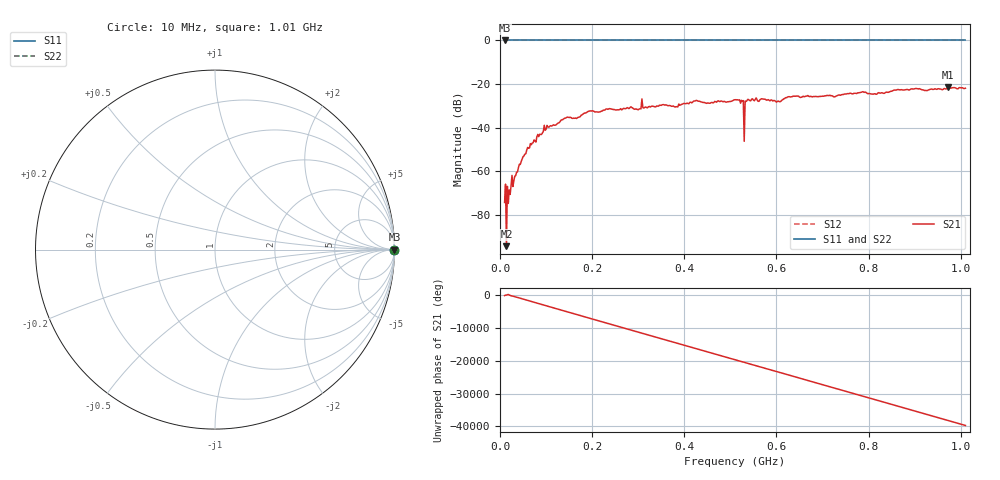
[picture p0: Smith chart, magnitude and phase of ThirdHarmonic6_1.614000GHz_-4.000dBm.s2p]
! 8/16/2025 7:15:42 PM
! C:\ANRITSUVNA\TEMP\TEMP.S2P
! CHANNEL.1
! TR.MEASUREMENT
! RAW.DATA
! RF.CORRECTION.OFF
! AVERAGING.OFF
! IF.BANDWIDTH: 5KHZ
! SWEEPTYPE:  FREQ.SWEEP(Linear)
! Reference Plane Port Info
! PORT:  PORT1  PORT2
! DISTANCE:  0  m  0  m
! TIME:  0  s  0  s
! PHASE.OFFSET:  0  deg.  0  deg.
! LOSS:  0  dB  0  dB
! REF.LOSS:  0  dB  0  dB
! REF.FREQ:  0  Hz  0  Hz
! Power Info
! POWER:  -20  dBm  -20  dBm
! EFF.POWER:  -20  dBm  -20  dBm
! SOURCE.ATTEN:  0  dB  0  dB
! TEST.ATTEN:  0  dB  0  dB
# GHZ S RI R 50.0
! FREQ.GHZ  S11RE  S11IM  S21RE  S21IM  S12RE  S12IM  S22RE  S22IM
!; PortSelection: Port_12
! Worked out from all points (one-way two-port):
!   501 points, 10 MHz to 1.01 GHz, reference 50 ohm
!   highest |S21| = -21.52 dB at 972 MHz (marker M1); lowest = -94.3 dB at 14 MHz (marker M2)
!   lowest |S11| = 0.0 dB at 10 MHz (marker M3)
!   |S11| at or under -10 dB: nowhere
!   |S22| runs from 0.0 to 0.0 dB; largest |S21 - S12| = 1.1
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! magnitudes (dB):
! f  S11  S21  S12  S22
! 10 MHz  0.0  -74.3  0.0  0.0
! 14 MHz  0.0  -94.3  0.0  0.0
! 18 MHz  0.0  -74.7  0.0  0.0
! 28 MHz  0.0  -67.0  0.0  0.0
! 50 MHz  0.0  -53.3  0.0  0.0
! 84 MHz  0.0  -44.1  0.0  0.0
! 100 MHz  0.0  -40.7  0.0  0.0
! 142 MHz  0.0  -35.6  0.0  0.0
! 178 MHz  0.0  -34.1  0.0  0.0
! 344 MHz  0.0  -30.1  0.0  0.0
! 510 MHz  0.0  -27.2  0.0  0.0
! 524 MHz  0.0  -27.4  0.0  0.0
! 526 MHz  0.0  -27.8  0.0  0.0
! 534 MHz  0.0  -28.0  0.0  0.0
! 536 MHz  0.0  -27.5  0.0  0.0
! 542 MHz  0.0  -27.6  0.0  0.0
! 604 MHz  0.0  -27.8  0.0  0.0
! 628 MHz  0.0  -25.8  0.0  0.0
! 678 MHz  0.0  -25.9  0.0  0.0
! 844 MHz  0.0  -23.7  0.0  0.0
! 972 MHz  0.0  -21.5  0.0  0.0
! 1.01 GHz  0.0  -21.9  0.0  0.0
